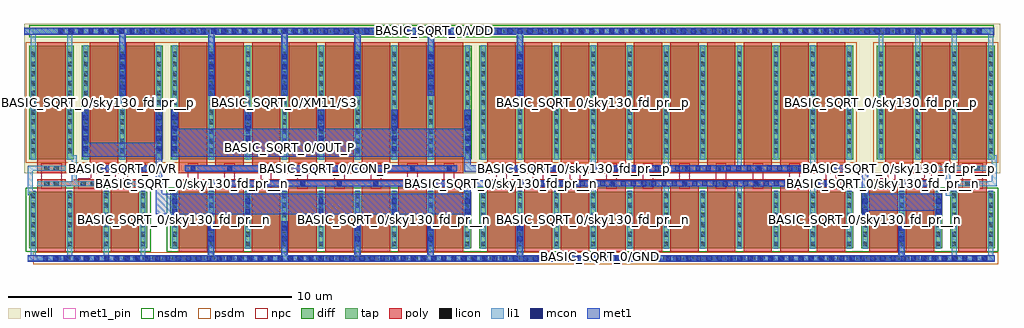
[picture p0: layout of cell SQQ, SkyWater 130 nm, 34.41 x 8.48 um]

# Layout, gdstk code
import gdstk
lib = gdstk.Library(unit=1e-6, precision=1e-09)
def R(c, l, rs):  # rectangles x0, y0, x1, y1
    for r in rs: c.add(gdstk.rectangle(r[:2], r[2:], *l))
def A(c, l, x, y, w, h, nx, ny, dx, dy):  # array of equal rectangles
    R(c, l, [(x+i*dx, y+j*dy, x+i*dx+w, y+j*dy+h) for i in range(nx) for j in range(ny)])
nwell = (64, 20)
diff = (65, 20)
tap = (65, 44)
poly = (66, 20)
licon = (66, 44)
li1 = (67, 20)
mcon = (67, 44)
met1_pin = (68, 16)
met1 = (68, 20)
nsdm = (93, 44)
psdm = (94, 20)
npc = (95, 20)

sky130_fd_pr__pfet_01v8_ = lib.new_cell('sky130_fd_pr__pfet_01v8_2Q6GVR')
R(sky130_fd_pr__pfet_01v8_, nwell, [(-5.485,-2.32,5.485,2.49)])
R(sky130_fd_pr__pfet_01v8_, diff, [(-5.305,-1.82,5.305,2.18)])
A(sky130_fd_pr__pfet_01v8_, poly, -4.805, -2.305, 0.58, 0.165, 8, 1, 1.29, 0)
A(sky130_fd_pr__pfet_01v8_, poly, -5.015, -2.14, 1, 4.45, 8, 1, 1.29, 0)
A(sky130_fd_pr__pfet_01v8_, licon, -4.6, -2.225, 0.17, 0.17, 8, 1, 1.29, 0)
A(sky130_fd_pr__pfet_01v8_, licon, -5.245, -1.605, 0.17, 0.17, 9, 11, 1.29, 0.34)
A(sky130_fd_pr__pfet_01v8_, li1, -4.805, -2.225, 0.58, 0.17, 8, 1, 1.29, 0)
A(sky130_fd_pr__pfet_01v8_, li1, -5.245, -1.84, 0.17, 4.04, 9, 1, 1.29, 0)
A(sky130_fd_pr__pfet_01v8_, mcon, -4.6, -2.225, 0.17, 0.17, 8, 1, 1.29, 0)
A(sky130_fd_pr__pfet_01v8_, mcon, -5.245, -1.525, 0.17, 0.17, 5, 4, 2.58, 0.36)
A(sky130_fd_pr__pfet_01v8_, mcon, -3.955, 0.635, 0.17, 0.17, 4, 4, 2.58, 0.36)
A(sky130_fd_pr__pfet_01v8_, met1, -4.785, -2.255, 0.54, 0.23, 8, 1, 1.29, 0)
A(sky130_fd_pr__pfet_01v8_, met1, -5.275, -1.735, 0.23, 1.67, 5, 1, 2.58, 0)
A(sky130_fd_pr__pfet_01v8_, met1, -3.985, 0.425, 0.23, 1.67, 4, 1, 2.58, 0)
R(sky130_fd_pr__pfet_01v8_, psdm, [(-5.43,-1.945,5.43,2.305)])
A(sky130_fd_pr__pfet_01v8_, npc, -4.7, -2.325, 0.37, 0.37, 8, 1, 1.29, 0)
sky130_fd_pr__pfet_01v8_.add(gdstk.Label('D0', (-5.16,0.18), layer=67, texttype=5))
sky130_fd_pr__pfet_01v8_.add(gdstk.Label('G0', (-4.515,-2.14), layer=67, texttype=5))
sky130_fd_pr__pfet_01v8_.add(gdstk.Label('S1', (-3.87,0.18), layer=67, texttype=5))
sky130_fd_pr__pfet_01v8_.add(gdstk.Label('G1', (-3.225,-2.14), layer=67, texttype=5))
sky130_fd_pr__pfet_01v8_.add(gdstk.Label('D2', (-2.58,0.18), layer=67, texttype=5))
sky130_fd_pr__pfet_01v8_.add(gdstk.Label('G2', (-1.935,-2.14), layer=67, texttype=5))
sky130_fd_pr__pfet_01v8_.add(gdstk.Label('S3', (-1.29,0.18), layer=67, texttype=5))
sky130_fd_pr__pfet_01v8_.add(gdstk.Label('G3', (-0.645,-2.14), layer=67, texttype=5))
sky130_fd_pr__pfet_01v8_.add(gdstk.Label('D4', (0,0.18), layer=67, texttype=5))
sky130_fd_pr__pfet_01v8_.add(gdstk.Label('G4', (0.645,-2.14), layer=67, texttype=5))
sky130_fd_pr__pfet_01v8_.add(gdstk.Label('S5', (1.29,0.18), layer=67, texttype=5))
sky130_fd_pr__pfet_01v8_.add(gdstk.Label('G5', (1.935,-2.14), layer=67, texttype=5))
sky130_fd_pr__pfet_01v8_.add(gdstk.Label('D6', (2.58,0.18), layer=67, texttype=5))
sky130_fd_pr__pfet_01v8_.add(gdstk.Label('G6', (3.225,-2.14), layer=67, texttype=5))
sky130_fd_pr__pfet_01v8_.add(gdstk.Label('S7', (3.87,0.18), layer=67, texttype=5))
sky130_fd_pr__pfet_01v8_.add(gdstk.Label('G7', (4.515,-2.14), layer=67, texttype=5))

c_sky130_fd_pr__pfet_01v8_ = lib.new_cell('sky130_fd_pr__pfet_01v8_2YLFS8')
R(c_sky130_fd_pr__pfet_01v8_, nwell, [(-1.615,-2.32,1.615,2.49)])
R(c_sky130_fd_pr__pfet_01v8_, diff, [(-1.435,-1.82,1.435,2.18)])
R(c_sky130_fd_pr__pfet_01v8_, poly, [(-0.935,-2.305,-0.355,-2.14), (0.355,-2.305,0.935,-2.14), (-1.145,-2.14,-0.145,2.31), (0.145,-2.14,1.145,2.31)])
A(c_sky130_fd_pr__pfet_01v8_, licon, -1.375, -1.605, 0.17, 0.17, 3, 11, 1.29, 0.34)
R(c_sky130_fd_pr__pfet_01v8_, licon, [(-0.73,-2.225,-0.56,-2.055), (0.56,-2.225,0.73,-2.055)])
A(c_sky130_fd_pr__pfet_01v8_, li1, -1.375, -1.84, 0.17, 4.04, 3, 1, 1.29, 0)
R(c_sky130_fd_pr__pfet_01v8_, li1, [(-0.935,-2.225,-0.355,-2.055), (0.355,-2.225,0.935,-2.055)])
A(c_sky130_fd_pr__pfet_01v8_, mcon, -0.085, 0.635, 0.17, 0.17, 1, 4, 0, 0.36)
R(c_sky130_fd_pr__pfet_01v8_, met1, [(-0.115,0.425,0.115,2.095)])
R(c_sky130_fd_pr__pfet_01v8_, psdm, [(-1.56,-1.945,1.56,2.305)])
R(c_sky130_fd_pr__pfet_01v8_, npc, [(-0.83,-2.325,-0.46,-1.955), (0.46,-2.325,0.83,-1.955)])
c_sky130_fd_pr__pfet_01v8_.add(gdstk.Label('D0', (-1.29,0.18), layer=67, texttype=5))
c_sky130_fd_pr__pfet_01v8_.add(gdstk.Label('G0', (-0.645,-2.14), layer=67, texttype=5))
c_sky130_fd_pr__pfet_01v8_.add(gdstk.Label('S1', (0,0.18), layer=67, texttype=5))
c_sky130_fd_pr__pfet_01v8_.add(gdstk.Label('G1', (0.645,-2.14), layer=67, texttype=5))

c_sky130_fd_pr__pfet_01v8__ = lib.new_cell('sky130_fd_pr__pfet_01v8_BGGETK')
R(c_sky130_fd_pr__pfet_01v8__, nwell, [(-5.485,-2.32,5.485,2.49)])
R(c_sky130_fd_pr__pfet_01v8__, diff, [(-5.305,-1.82,5.305,2.18)])
A(c_sky130_fd_pr__pfet_01v8__, poly, -4.805, -2.305, 0.58, 0.165, 8, 1, 1.29, 0)
A(c_sky130_fd_pr__pfet_01v8__, poly, -5.015, -2.14, 1, 4.45, 8, 1, 1.29, 0)
A(c_sky130_fd_pr__pfet_01v8__, licon, -4.6, -2.225, 0.17, 0.17, 8, 1, 1.29, 0)
A(c_sky130_fd_pr__pfet_01v8__, licon, -5.245, -1.605, 0.17, 0.17, 9, 11, 1.29, 0.34)
A(c_sky130_fd_pr__pfet_01v8__, li1, -4.805, -2.225, 0.58, 0.17, 8, 1, 1.29, 0)
A(c_sky130_fd_pr__pfet_01v8__, li1, -5.245, -1.84, 0.17, 4.04, 9, 1, 1.29, 0)
R(c_sky130_fd_pr__pfet_01v8__, psdm, [(-5.43,-1.945,5.43,2.305)])
A(c_sky130_fd_pr__pfet_01v8__, npc, -4.7, -2.325, 0.37, 0.37, 8, 1, 1.29, 0)
c_sky130_fd_pr__pfet_01v8__.add(gdstk.Label('D0', (-5.16,0.18), layer=67, texttype=5))
c_sky130_fd_pr__pfet_01v8__.add(gdstk.Label('G0', (-4.515,-2.14), layer=67, texttype=5))
c_sky130_fd_pr__pfet_01v8__.add(gdstk.Label('S1', (-3.87,0.18), layer=67, texttype=5))
c_sky130_fd_pr__pfet_01v8__.add(gdstk.Label('G1', (-3.225,-2.14), layer=67, texttype=5))
c_sky130_fd_pr__pfet_01v8__.add(gdstk.Label('D2', (-2.58,0.18), layer=67, texttype=5))
c_sky130_fd_pr__pfet_01v8__.add(gdstk.Label('G2', (-1.935,-2.14), layer=67, texttype=5))
c_sky130_fd_pr__pfet_01v8__.add(gdstk.Label('S3', (-1.29,0.18), layer=67, texttype=5))
c_sky130_fd_pr__pfet_01v8__.add(gdstk.Label('G3', (-0.645,-2.14), layer=67, texttype=5))
c_sky130_fd_pr__pfet_01v8__.add(gdstk.Label('D4', (0,0.18), layer=67, texttype=5))
c_sky130_fd_pr__pfet_01v8__.add(gdstk.Label('G4', (0.645,-2.14), layer=67, texttype=5))
c_sky130_fd_pr__pfet_01v8__.add(gdstk.Label('S5', (1.29,0.18), layer=67, texttype=5))
c_sky130_fd_pr__pfet_01v8__.add(gdstk.Label('G5', (1.935,-2.14), layer=67, texttype=5))
c_sky130_fd_pr__pfet_01v8__.add(gdstk.Label('D6', (2.58,0.18), layer=67, texttype=5))
c_sky130_fd_pr__pfet_01v8__.add(gdstk.Label('G6', (3.225,-2.14), layer=67, texttype=5))
c_sky130_fd_pr__pfet_01v8__.add(gdstk.Label('S7', (3.87,0.18), layer=67, texttype=5))
c_sky130_fd_pr__pfet_01v8__.add(gdstk.Label('G7', (4.515,-2.14), layer=67, texttype=5))

c_sky130_fd_pr__pfet_01v8___ = lib.new_cell('sky130_fd_pr__pfet_01v8_24JSVR')
R(c_sky130_fd_pr__pfet_01v8___, nwell, [(-1.615,-2.32,1.615,2.49)])
R(c_sky130_fd_pr__pfet_01v8___, diff, [(-1.435,-1.82,1.435,2.18)])
R(c_sky130_fd_pr__pfet_01v8___, poly, [(-0.935,-2.305,-0.355,-2.14), (0.355,-2.305,0.935,-2.14), (-1.145,-2.14,-0.145,2.31), (0.145,-2.14,1.145,2.31)])
A(c_sky130_fd_pr__pfet_01v8___, licon, -1.375, -1.605, 0.17, 0.17, 3, 11, 1.29, 0.34)
R(c_sky130_fd_pr__pfet_01v8___, licon, [(-0.73,-2.225,-0.56,-2.055), (0.56,-2.225,0.73,-2.055)])
A(c_sky130_fd_pr__pfet_01v8___, li1, -1.375, -1.84, 0.17, 4.04, 3, 1, 1.29, 0)
R(c_sky130_fd_pr__pfet_01v8___, li1, [(-0.935,-2.225,-0.355,-2.055), (0.355,-2.225,0.935,-2.055)])
A(c_sky130_fd_pr__pfet_01v8___, mcon, -1.375, -1.525, 0.17, 0.17, 1, 4, 0, 0.36)
A(c_sky130_fd_pr__pfet_01v8___, mcon, 1.205, -1.525, 0.17, 0.17, 1, 4, 0, 0.36)
A(c_sky130_fd_pr__pfet_01v8___, mcon, -0.085, 0.635, 0.17, 0.17, 1, 4, 0, 0.36)
R(c_sky130_fd_pr__pfet_01v8___, mcon, [(-0.73,-2.225,-0.56,-2.055), (0.56,-2.225,0.73,-2.055)])
R(c_sky130_fd_pr__pfet_01v8___, met1, [(-0.915,-2.255,-0.375,-2.025), (0.375,-2.255,0.915,-2.025), (-1.405,-1.735,-1.175,-0.065), (1.175,-1.735,1.405,-0.065), (-0.115,0.425,0.115,2.095)])
R(c_sky130_fd_pr__pfet_01v8___, psdm, [(-1.56,-1.945,1.56,2.305)])
R(c_sky130_fd_pr__pfet_01v8___, npc, [(-0.83,-2.325,-0.46,-1.955), (0.46,-2.325,0.83,-1.955)])
c_sky130_fd_pr__pfet_01v8___.add(gdstk.Label('D0', (-1.29,0.18), layer=67, texttype=5))
c_sky130_fd_pr__pfet_01v8___.add(gdstk.Label('G0', (-0.645,-2.14), layer=67, texttype=5))
c_sky130_fd_pr__pfet_01v8___.add(gdstk.Label('S1', (0,0.18), layer=67, texttype=5))
c_sky130_fd_pr__pfet_01v8___.add(gdstk.Label('G1', (0.645,-2.14), layer=67, texttype=5))

sky130_fd_pr__nfet_01v8_ = lib.new_cell('sky130_fd_pr__nfet_01v8_YC5E7B')
R(sky130_fd_pr__nfet_01v8_, diff, [(-5.305,-1.155,5.305,0.845)])
A(sky130_fd_pr__nfet_01v8_, poly, -5.015, -1.285, 1, 2.405, 8, 1, 1.29, 0)
A(sky130_fd_pr__nfet_01v8_, poly, -4.805, 1.12, 0.58, 0.165, 8, 1, 1.29, 0)
A(sky130_fd_pr__nfet_01v8_, licon, -5.245, -1.09, 0.17, 0.17, 9, 6, 1.29, 0.34)
A(sky130_fd_pr__nfet_01v8_, licon, -4.6, 1.035, 0.17, 0.17, 8, 1, 1.29, 0)
A(sky130_fd_pr__nfet_01v8_, li1, -5.245, -1.175, 0.17, 2.04, 9, 1, 1.29, 0)
A(sky130_fd_pr__nfet_01v8_, li1, -4.805, 1.035, 0.58, 0.17, 8, 1, 1.29, 0)
A(sky130_fd_pr__nfet_01v8_, mcon, -3.955, -0.9, 0.17, 0.17, 4, 2, 2.58, 0.36)
A(sky130_fd_pr__nfet_01v8_, mcon, -5.245, 0.06, 0.17, 0.17, 5, 2, 2.58, 0.36)
A(sky130_fd_pr__nfet_01v8_, mcon, -4.6, 1.035, 0.17, 0.17, 8, 1, 1.29, 0)
A(sky130_fd_pr__nfet_01v8_, met1, -3.985, -1.07, 0.23, 0.87, 4, 1, 2.58, 0)
A(sky130_fd_pr__nfet_01v8_, met1, -5.275, -0.11, 0.23, 0.87, 5, 1, 2.58, 0)
A(sky130_fd_pr__nfet_01v8_, met1, -4.785, 1.005, 0.54, 0.23, 8, 1, 1.29, 0)
R(sky130_fd_pr__nfet_01v8_, nsdm, [(-5.43,-1.28,5.43,0.97)])
A(sky130_fd_pr__nfet_01v8_, npc, -4.7, 0.935, 0.37, 0.37, 8, 1, 1.29, 0)
sky130_fd_pr__nfet_01v8_.add(gdstk.Label('D0', (-5.16,-0.155), layer=67, texttype=5))
sky130_fd_pr__nfet_01v8_.add(gdstk.Label('G0', (-4.515,1.12), layer=67, texttype=5))
sky130_fd_pr__nfet_01v8_.add(gdstk.Label('S1', (-3.87,-0.155), layer=67, texttype=5))
sky130_fd_pr__nfet_01v8_.add(gdstk.Label('G1', (-3.225,1.12), layer=67, texttype=5))
sky130_fd_pr__nfet_01v8_.add(gdstk.Label('D2', (-2.58,-0.155), layer=67, texttype=5))
sky130_fd_pr__nfet_01v8_.add(gdstk.Label('G2', (-1.935,1.12), layer=67, texttype=5))
sky130_fd_pr__nfet_01v8_.add(gdstk.Label('S3', (-1.29,-0.155), layer=67, texttype=5))
sky130_fd_pr__nfet_01v8_.add(gdstk.Label('G3', (-0.645,1.12), layer=67, texttype=5))
sky130_fd_pr__nfet_01v8_.add(gdstk.Label('D4', (0,-0.155), layer=67, texttype=5))
sky130_fd_pr__nfet_01v8_.add(gdstk.Label('G4', (0.645,1.12), layer=67, texttype=5))
sky130_fd_pr__nfet_01v8_.add(gdstk.Label('S5', (1.29,-0.155), layer=67, texttype=5))
sky130_fd_pr__nfet_01v8_.add(gdstk.Label('G5', (1.935,1.12), layer=67, texttype=5))
sky130_fd_pr__nfet_01v8_.add(gdstk.Label('D6', (2.58,-0.155), layer=67, texttype=5))
sky130_fd_pr__nfet_01v8_.add(gdstk.Label('G6', (3.225,1.12), layer=67, texttype=5))
sky130_fd_pr__nfet_01v8_.add(gdstk.Label('S7', (3.87,-0.155), layer=67, texttype=5))
sky130_fd_pr__nfet_01v8_.add(gdstk.Label('G7', (4.515,1.12), layer=67, texttype=5))

c_sky130_fd_pr__nfet_01v8_ = lib.new_cell('sky130_fd_pr__nfet_01v8_TFB3AH')
R(c_sky130_fd_pr__nfet_01v8_, diff, [(-1.435,-1.155,1.435,0.845)])
R(c_sky130_fd_pr__nfet_01v8_, poly, [(-1.145,-1.285,-0.145,1.12), (0.145,-1.285,1.145,1.12), (-0.935,1.12,-0.355,1.285), (0.355,1.12,0.935,1.285)])
A(c_sky130_fd_pr__nfet_01v8_, licon, -1.375, -1.09, 0.17, 0.17, 3, 6, 1.29, 0.34)
R(c_sky130_fd_pr__nfet_01v8_, licon, [(-0.73,1.035,-0.56,1.205), (0.56,1.035,0.73,1.205)])
A(c_sky130_fd_pr__nfet_01v8_, li1, -1.375, -1.175, 0.17, 2.04, 3, 1, 1.29, 0)
R(c_sky130_fd_pr__nfet_01v8_, li1, [(-0.935,1.035,-0.355,1.205), (0.355,1.035,0.935,1.205)])
R(c_sky130_fd_pr__nfet_01v8_, mcon, [(-0.085,-0.9,0.085,-0.73), (-0.085,-0.54,0.085,-0.37)])
R(c_sky130_fd_pr__nfet_01v8_, met1, [(-0.115,-1.07,0.115,-0.2)])
R(c_sky130_fd_pr__nfet_01v8_, nsdm, [(-1.56,-1.28,1.56,0.97)])
R(c_sky130_fd_pr__nfet_01v8_, npc, [(-0.83,0.935,-0.46,1.305), (0.46,0.935,0.83,1.305)])
c_sky130_fd_pr__nfet_01v8_.add(gdstk.Label('D0', (-1.29,-0.155), layer=67, texttype=5))
c_sky130_fd_pr__nfet_01v8_.add(gdstk.Label('G0', (-0.645,1.12), layer=67, texttype=5))
c_sky130_fd_pr__nfet_01v8_.add(gdstk.Label('S1', (0,-0.155), layer=67, texttype=5))
c_sky130_fd_pr__nfet_01v8_.add(gdstk.Label('G1', (0.645,1.12), layer=67, texttype=5))

c_sky130_fd_pr__nfet_01v8__ = lib.new_cell('sky130_fd_pr__nfet_01v8_T8ZRRH')
R(c_sky130_fd_pr__nfet_01v8__, diff, [(-5.305,-1.155,5.305,0.845)])
A(c_sky130_fd_pr__nfet_01v8__, poly, -5.015, -1.285, 1, 2.405, 8, 1, 1.29, 0)
A(c_sky130_fd_pr__nfet_01v8__, poly, -4.805, 1.12, 0.58, 0.165, 8, 1, 1.29, 0)
A(c_sky130_fd_pr__nfet_01v8__, licon, -5.245, -1.09, 0.17, 0.17, 9, 6, 1.29, 0.34)
A(c_sky130_fd_pr__nfet_01v8__, licon, -4.6, 1.035, 0.17, 0.17, 8, 1, 1.29, 0)
A(c_sky130_fd_pr__nfet_01v8__, li1, -5.245, -1.175, 0.17, 2.04, 9, 1, 1.29, 0)
A(c_sky130_fd_pr__nfet_01v8__, li1, -4.805, 1.035, 0.58, 0.17, 8, 1, 1.29, 0)
R(c_sky130_fd_pr__nfet_01v8__, nsdm, [(-5.43,-1.28,5.43,0.97)])
A(c_sky130_fd_pr__nfet_01v8__, npc, -4.7, 0.935, 0.37, 0.37, 8, 1, 1.29, 0)
c_sky130_fd_pr__nfet_01v8__.add(gdstk.Label('D0', (-5.16,-0.155), layer=67, texttype=5))
c_sky130_fd_pr__nfet_01v8__.add(gdstk.Label('G0', (-4.515,1.12), layer=67, texttype=5))
c_sky130_fd_pr__nfet_01v8__.add(gdstk.Label('S1', (-3.87,-0.155), layer=67, texttype=5))
c_sky130_fd_pr__nfet_01v8__.add(gdstk.Label('G1', (-3.225,1.12), layer=67, texttype=5))
c_sky130_fd_pr__nfet_01v8__.add(gdstk.Label('D2', (-2.58,-0.155), layer=67, texttype=5))
c_sky130_fd_pr__nfet_01v8__.add(gdstk.Label('G2', (-1.935,1.12), layer=67, texttype=5))
c_sky130_fd_pr__nfet_01v8__.add(gdstk.Label('S3', (-1.29,-0.155), layer=67, texttype=5))
c_sky130_fd_pr__nfet_01v8__.add(gdstk.Label('G3', (-0.645,1.12), layer=67, texttype=5))
c_sky130_fd_pr__nfet_01v8__.add(gdstk.Label('D4', (0,-0.155), layer=67, texttype=5))
c_sky130_fd_pr__nfet_01v8__.add(gdstk.Label('G4', (0.645,1.12), layer=67, texttype=5))
c_sky130_fd_pr__nfet_01v8__.add(gdstk.Label('S5', (1.29,-0.155), layer=67, texttype=5))
c_sky130_fd_pr__nfet_01v8__.add(gdstk.Label('G5', (1.935,1.12), layer=67, texttype=5))
c_sky130_fd_pr__nfet_01v8__.add(gdstk.Label('D6', (2.58,-0.155), layer=67, texttype=5))
c_sky130_fd_pr__nfet_01v8__.add(gdstk.Label('G6', (3.225,1.12), layer=67, texttype=5))
c_sky130_fd_pr__nfet_01v8__.add(gdstk.Label('S7', (3.87,-0.155), layer=67, texttype=5))
c_sky130_fd_pr__nfet_01v8__.add(gdstk.Label('G7', (4.515,1.12), layer=67, texttype=5))

c_sky130_fd_pr__nfet_01v8___ = lib.new_cell('sky130_fd_pr__nfet_01v8_3EFRP4')
R(c_sky130_fd_pr__nfet_01v8___, diff, [(-1.435,-1.155,1.435,0.845)])
R(c_sky130_fd_pr__nfet_01v8___, poly, [(-1.145,-1.285,-0.145,1.12), (0.145,-1.285,1.145,1.12), (-0.935,1.12,-0.355,1.285), (0.355,1.12,0.935,1.285)])
A(c_sky130_fd_pr__nfet_01v8___, licon, -1.375, -1.09, 0.17, 0.17, 3, 6, 1.29, 0.34)
R(c_sky130_fd_pr__nfet_01v8___, licon, [(-0.73,1.035,-0.56,1.205), (0.56,1.035,0.73,1.205)])
A(c_sky130_fd_pr__nfet_01v8___, li1, -1.375, -1.175, 0.17, 2.04, 3, 1, 1.29, 0)
R(c_sky130_fd_pr__nfet_01v8___, li1, [(-0.935,1.035,-0.355,1.205), (0.355,1.035,0.935,1.205)])
R(c_sky130_fd_pr__nfet_01v8___, mcon, [(-0.085,-0.9,0.085,-0.73), (-0.085,-0.54,0.085,-0.37), (-1.375,0.06,-1.205,0.23), (1.205,0.06,1.375,0.23), (-1.375,0.42,-1.205,0.59), (1.205,0.42,1.375,0.59), (-0.73,1.035,-0.56,1.205), (0.56,1.035,0.73,1.205)])
R(c_sky130_fd_pr__nfet_01v8___, met1, [(-0.115,-1.07,0.115,-0.2), (-1.405,-0.11,-1.175,0.76), (1.175,-0.11,1.405,0.76), (-0.915,1.005,-0.375,1.235), (0.375,1.005,0.915,1.235)])
R(c_sky130_fd_pr__nfet_01v8___, nsdm, [(-1.56,-1.28,1.56,0.97)])
R(c_sky130_fd_pr__nfet_01v8___, npc, [(-0.83,0.935,-0.46,1.305), (0.46,0.935,0.83,1.305)])
c_sky130_fd_pr__nfet_01v8___.add(gdstk.Label('D0', (-1.29,-0.155), layer=67, texttype=5))
c_sky130_fd_pr__nfet_01v8___.add(gdstk.Label('G0', (-0.645,1.12), layer=67, texttype=5))
c_sky130_fd_pr__nfet_01v8___.add(gdstk.Label('S1', (0,-0.155), layer=67, texttype=5))
c_sky130_fd_pr__nfet_01v8___.add(gdstk.Label('G1', (0.645,1.12), layer=67, texttype=5))

sqq = lib.new_cell('SQQ')
R(sqq, nwell, [(4.41,46.67,38.82,46.885), (4.41,46.885,7.5,51.265), (8.325,46.885,38.82,51.265), (4.41,51.265,38.82,51.95)])
A(sqq, diff, 11.155, 44.035, 2.29, 2, 3, 1, 2.58, 0)
A(sqq, diff, 20.75, 44.035, 2.29, 2, 5, 1, 2.58, 0)
A(sqq, diff, 20.75, 47.17, 2.29, 4, 5, 1, 2.58, 0)
R(sqq, diff, [(4.59,44.035,8.75,46.035), (9.575,44.035,10.865,46.035), (18.895,44.035,20.185,46.035), (33.92,44.035,36.79,46.035), (37.06,44.035,38.64,46.035), (4.59,47.17,6.17,51.17), (6.44,47.17,7.73,51.17), (8.02,47.17,9.31,51.17), (9.58,47.17,20.19,51.17), (34.48,47.17,38.64,51.17)])
R(sqq, tap, [(4.865,43.595,38.64,43.765), (4.72,51.6,38.475,51.77)])
A(sqq, poly, 4.88, 43.905, 1, 2.32, 3, 1, 1.29, 0)
A(sqq, poly, 9.865, 43.905, 1, 2.29, 8, 1, 1.29, 0)
A(sqq, poly, 20.75, 43.905, 1, 2.32, 10, 1, 1.29, 0)
A(sqq, poly, 4.88, 46.395, 1, 0.08, 3, 1, 1.29, 0)
A(sqq, poly, 20.75, 46.935, 1, 4.365, 10, 1, 1.29, 0)
A(sqq, poly, 34.77, 46.955, 1, 4.345, 3, 1, 1.29, 0)
A(sqq, poly, 9.87, 46.965, 1, 4.335, 8, 1, 1.29, 0)
R(sqq, poly, [(34.21,43.905,35.21,46.195), (35.5,43.905,36.5,46.195), (37.35,43.905,38.35,46.475), (9.865,46.195,19.895,46.475), (34.21,46.195,36.5,46.475), (4.88,46.225,8.46,46.395), (20.75,46.225,33.36,46.475), (4.88,46.685,5.88,51.3), (6.73,46.685,8.81,46.85), (9.87,46.685,19.9,46.965), (20.75,46.685,33.36,46.935), (34.77,46.685,38.35,46.955), (6.73,46.85,9.02,46.965), (6.73,46.965,7.73,51.3), (8.02,46.965,9.02,51.3)])
A(sqq, licon, 5.535, 43.595, 0.17, 0.17, 97, 1, 0.34, 0)
A(sqq, licon, 4.65, 44.1, 0.17, 0.17, 4, 6, 1.29, 0.34)
A(sqq, licon, 9.635, 44.1, 0.17, 0.17, 5, 6, 2.58, 0.34)
A(sqq, licon, 21.81, 44.1, 0.17, 0.17, 5, 6, 2.58, 0.34)
A(sqq, licon, 33.98, 44.1, 0.17, 0.17, 3, 6, 1.29, 0.34)
A(sqq, licon, 37.12, 44.1, 0.17, 0.17, 1, 6, 0, 0.34)
A(sqq, licon, 38.41, 44.1, 0.17, 0.17, 1, 6, 0, 0.34)
A(sqq, licon, 10.28, 46.225, 0.17, 0.17, 8, 1, 1.29, 0)
A(sqq, licon, 21.165, 46.225, 0.17, 0.17, 10, 2, 1.29, 0.54)
A(sqq, licon, 10.285, 46.765, 0.17, 0.17, 8, 1, 1.29, 0)
A(sqq, licon, 4.65, 47.385, 0.17, 0.17, 1, 11, 0, 0.34)
A(sqq, licon, 5.94, 47.385, 0.17, 0.17, 1, 11, 0, 0.34)
A(sqq, licon, 6.5, 47.385, 0.17, 0.17, 1, 11, 0, 0.34)
A(sqq, licon, 9.08, 47.385, 0.17, 0.17, 1, 11, 0, 0.34)
A(sqq, licon, 9.64, 47.385, 0.17, 0.17, 9, 11, 1.29, 0.34)
A(sqq, licon, 21.81, 47.385, 0.17, 0.17, 5, 11, 2.58, 0.34)
A(sqq, licon, 34.54, 47.385, 0.17, 0.17, 4, 11, 1.29, 0.34)
A(sqq, licon, 5.665, 51.6, 0.17, 0.17, 96, 1, 0.34, 0)
R(sqq, licon, [(5.125,46.225,5.295,46.395), (5.465,46.225,5.635,46.395), (6.415,46.225,6.585,46.395), (6.755,46.225,6.925,46.395), (7.705,46.225,7.875,46.395), (8.045,46.225,8.215,46.395), (34.625,46.225,34.795,46.395), (35.915,46.225,36.085,46.395), (37.595,46.225,37.765,46.395), (37.935,46.225,38.105,46.395), (5.125,46.765,5.295,46.935), (5.465,46.765,5.635,46.935), (7.145,46.765,7.315,46.935), (8.435,46.765,8.605,46.935), (35.185,46.765,35.355,46.935), (36.475,46.765,36.645,46.935), (37.595,46.765,37.765,46.935), (37.935,46.765,38.105,46.935)])
A(sqq, li1, 5.94, 43.765, 0.17, 2.29, 3, 1, 1.29, 0)
A(sqq, li1, 9.635, 44.015, 0.17, 2.04, 5, 1, 2.58, 0)
A(sqq, li1, 24.39, 44.015, 0.17, 2.21, 4, 1, 2.58, 0)
A(sqq, li1, 24.39, 46.935, 0.17, 4.255, 4, 1, 2.58, 0)
A(sqq, li1, 9.64, 47.15, 0.17, 4.04, 5, 1, 2.58, 0)
A(sqq, li1, 10.93, 47.15, 0.17, 4.45, 4, 1, 2.58, 0)
A(sqq, li1, 34.54, 47.15, 0.17, 4.45, 3, 1, 1.29, 0)
R(sqq, li1, [(4.545,43.595,38.64,43.765), (4.65,43.765,4.82,45.895), (10.925,43.765,11.095,44.265), (13.505,43.765,13.675,44.14), (16.085,43.765,16.255,44.15), (18.665,43.765,18.835,44.205), (21.81,43.765,21.98,46.055), (35.27,43.765,35.44,46.055), (37.12,43.765,37.29,45.885), (38.41,43.765,38.58,46.055), (33.98,44.015,34.15,46.055), (36.56,44.015,36.73,46.055), (36.9,45.885,37.29,46.055), (4.54,45.895,4.82,46.055), (4.54,46.055,4.71,46.765), (36.9,46.055,37.07,46.765), (4.88,46.225,8.46,46.395), (10.075,46.225,19.685,46.395), (20.96,46.225,33.15,46.395), (34.42,46.225,36.29,46.395), (37.35,46.225,38.7,46.395), (6.095,46.395,6.265,47.15), (38.53,46.395,38.7,47.15), (4.54,46.765,5.88,46.935), (6.94,46.765,8.81,46.935), (10.08,46.765,19.69,46.935), (20.96,46.765,33.15,46.935), (34.98,46.765,38.35,46.935), (4.65,47.15,4.82,51.6), (5.94,47.15,6.265,47.32), (6.5,47.15,6.67,51.19), (9.08,47.15,9.25,51.19), (21.81,47.15,21.98,51.6), (38.41,47.15,38.7,47.32), (5.94,47.32,6.11,51.6), (38.41,47.32,38.58,51.6), (7.79,50.975,7.96,51.6), (4.425,51.6,38.58,51.77)])
A(sqq, mcon, 5.085, 43.595, 0.17, 0.17, 93, 1, 0.36, 0)
A(sqq, mcon, 9.635, 45.25, 0.17, 0.17, 5, 2, 2.58, 0.36)
A(sqq, mcon, 10.28, 46.225, 0.17, 0.17, 8, 1, 1.29, 0)
A(sqq, mcon, 21.49, 46.225, 0.17, 0.17, 32, 1, 0.36, 0)
A(sqq, mcon, 10.285, 46.765, 0.17, 0.17, 8, 1, 1.29, 0)
A(sqq, mcon, 21.605, 46.765, 0.17, 0.17, 31, 1, 0.36, 0)
A(sqq, mcon, 6.5, 47.465, 0.17, 0.17, 1, 4, 0, 0.36)
A(sqq, mcon, 9.08, 47.465, 0.17, 0.17, 1, 4, 0, 0.36)
A(sqq, mcon, 9.64, 47.465, 0.17, 0.17, 5, 4, 2.58, 0.36)
A(sqq, mcon, 10.93, 49.625, 0.17, 0.17, 4, 4, 2.58, 0.36)
A(sqq, mcon, 21.81, 49.625, 0.17, 0.17, 1, 4, 0, 0.36)
A(sqq, mcon, 5.61, 51.6, 0.17, 0.17, 91, 1, 0.36, 0)
R(sqq, mcon, [(21.81,44.29,21.98,44.46), (35.27,44.29,35.44,44.46), (21.81,44.65,21.98,44.82), (35.27,44.65,35.44,44.82), (33.98,45.25,34.15,45.42), (36.56,45.25,36.73,45.42), (33.98,45.61,34.15,45.78), (36.56,45.61,36.73,45.78), (34.625,46.225,34.795,46.395), (35.915,46.225,36.085,46.395), (7.145,46.765,7.315,46.935), (8.435,46.765,8.605,46.935)])
R(sqq, met1_pin, [(24.225,43.69,25.225,43.795), (14.565,45.45,15.565,45.58), (14.495,46.265,15.495,46.385), (35.07,46.28,35.625,46.385), (14.525,46.785,15.525,46.9), (7.52,46.795,8.23,46.87), (13.285,47.535,14.285,47.61), (18.375,51.655,19.375,51.75)])
A(sqq, met1, 9.605, 45.08, 0.23, 0.15, 5, 1, 2.58, 0)
A(sqq, met1, 9.61, 48.255, 0.23, 0.67, 5, 1, 2.58, 0)
A(sqq, met1, 10.9, 49.415, 0.23, 2.155, 4, 1, 2.58, 0)
R(sqq, met1, [(4.54,43.565,38.64,43.795), (10.895,43.795,11.125,44.2), (13.475,43.795,13.705,44.205), (16.055,43.795,16.285,44.15), (18.635,43.795,18.865,44.205), (21.78,43.795,22.01,44.99), (35.24,43.795,35.47,44.99), (33.95,45.08,34.18,45.355), (36.53,45.08,36.76,45.355), (9.055,45.23,20.155,45.95), (33.95,45.355,36.76,45.95), (9.055,45.95,9.28,47.255), (19.925,45.95,20.155,46.195), (33.95,45.95,34.18,46.735), (10.095,46.195,19.665,46.425), (19.925,46.195,32.915,46.425), (34.44,46.195,36.27,46.425), (6.96,46.735,8.79,46.965), (10.1,46.735,19.67,46.965), (19.93,46.735,34.18,46.965), (19.93,46.965,20.16,47.255), (6.47,47.255,9.28,47.75), (9.61,47.255,20.16,48.255), (6.47,47.75,6.7,48.925), (9.05,47.75,9.28,48.925), (21.78,49.415,22.01,51.57), (7.76,50.88,7.99,51.57), (4.41,51.57,38.625,51.8)])
R(sqq, nsdm, [(4.465,43.91,8.875,46.16), (9.45,43.91,38.765,46.16), (4.595,51.475,38.6,51.895)])
R(sqq, psdm, [(4.74,43.47,38.765,43.89), (4.465,47.045,33.485,51.295), (34.355,47.045,38.765,51.295)])
A(sqq, npc, 10.18, 46.125, 0.37, 0.37, 8, 1, 1.29, 0)
A(sqq, npc, 21.065, 46.125, 0.37, 0.91, 10, 1, 1.29, 0)
A(sqq, npc, 10.185, 46.495, 0.365, 0.17, 8, 1, 1.29, 0)
A(sqq, npc, 10.185, 46.665, 0.37, 0.37, 8, 1, 1.29, 0)
R(sqq, npc, [(5.025,46.125,5.735,47.035), (6.315,46.125,7.025,46.445), (7.605,46.125,8.315,46.225), (34.525,46.125,34.895,46.225), (35.815,46.125,36.185,46.225), (37.495,46.125,38.205,47.035), (7.375,46.225,8.315,46.445), (34.525,46.225,35.125,46.495), (35.815,46.225,36.415,46.495), (6.315,46.445,8.605,46.495), (6.755,46.495,7.645,46.715), (8.045,46.495,8.605,46.665), (34.855,46.495,35.125,46.665), (36.145,46.495,36.415,46.665), (8.045,46.665,8.705,46.715), (34.855,46.665,35.455,46.935), (36.145,46.665,36.745,46.935), (7.045,46.715,7.645,46.935), (8.335,46.715,8.705,47.035), (7.045,46.935,7.415,47.035), (35.085,46.935,35.455,47.035), (36.375,46.935,36.745,47.035)])
sqq.add(gdstk.Reference(sky130_fd_pr__pfet_01v8_, (14.885,48.99)))
sqq.add(gdstk.Reference(c_sky130_fd_pr__pfet_01v8_, (21.895,48.99)))
sqq.add(gdstk.Reference(c_sky130_fd_pr__pfet_01v8__, (28.345,48.99)))
sqq.add(gdstk.Reference(c_sky130_fd_pr__pfet_01v8___, (7.875,48.99)))
sqq.add(gdstk.Reference(sky130_fd_pr__nfet_01v8_, (14.88,45.19)))
sqq.add(gdstk.Reference(c_sky130_fd_pr__nfet_01v8_, (21.895,45.19)))
sqq.add(gdstk.Reference(c_sky130_fd_pr__nfet_01v8__, (28.345,45.19)))
sqq.add(gdstk.Reference(c_sky130_fd_pr__nfet_01v8___, (35.355,45.19)))
sqq.add(gdstk.Label('BASIC_SQRT_0/VR', (7.875,46.832), layer=68, texttype=5))
sqq.add(gdstk.Label('BASIC_SQRT_0/sky130_fd_pr__pfet_01v8_24JSVR_0/D0', (6.585,49.17), layer=67, texttype=5))
sqq.add(gdstk.Label('BASIC_SQRT_0/sky130_fd_pr__nfet_01v8_YC5E7B_0/D0', (9.72,45.035), layer=67, texttype=5))
sqq.add(gdstk.Label('BASIC_SQRT_0/OUT_N', (15.065,45.515), layer=68, texttype=5))
sqq.add(gdstk.Label('BASIC_SQRT_0/XM11/D0', (9.725,49.17), layer=67, texttype=5))
sqq.add(gdstk.Label('BASIC_SQRT_0/sky130_fd_pr__nfet_01v8_3EFRP4_0/D0', (34.065,45.035), layer=67, texttype=5))
sqq.add(gdstk.Label('BASIC_SQRT_0/XM6/D0', (4.735,45.035), layer=67, texttype=5))
sqq.add(gdstk.Label('BASIC_SQRT_0/sky130_fd_pr__nfet_01v8_3H4BCP_0/D', (37.205,45.035), layer=67, texttype=5))
sqq.add(gdstk.Label('BASIC_SQRT_0/sky130_fd_pr__pfet_01v8_TZ8JKT_0/D', (4.735,49.17), layer=67, texttype=5))
sqq.add(gdstk.Label('BASIC_SQRT_0/sky130_fd_pr__pfet_01v8_AQ3V6E_0/D0', (34.625,49.17), layer=67, texttype=5))
sqq.add(gdstk.Label('BASIC_SQRT_0/sky130_fd_pr__pfet_01v8_TZ8JKT_1/D', (37.205,49.17), layer=67, texttype=5))
sqq.add(gdstk.Label('BASIC_SQRT_0/sky130_fd_pr__nfet_01v8_3EFRP4_0/G0', (34.71,46.31), layer=67, texttype=5))
sqq.add(gdstk.Label('BASIC_SQRT_0/sky130_fd_pr__pfet_01v8_24JSVR_0/G0', (7.23,46.85), layer=67, texttype=5))
sqq.add(gdstk.Label('BASIC_SQRT_0/CON_P', (15.025,46.842), layer=68, texttype=5))
sqq.add(gdstk.Label('BASIC_SQRT_0/XM11/G0', (10.37,46.85), layer=67, texttype=5))
sqq.add(gdstk.Label('BASIC_SQRT_0/sky130_fd_pr__nfet_01v8_YC5E7B_0/G0', (10.365,46.31), layer=67, texttype=5))
sqq.add(gdstk.Label('BASIC_SQRT_0/sky130_fd_pr__nfet_01v8_TFB3AH_0/G0', (21.25,46.31), layer=67, texttype=5))
sqq.add(gdstk.Label('BASIC_SQRT_0/sky130_fd_pr__nfet_01v8_T8ZRRH_0/G0', (23.83,46.31), layer=67, texttype=5))
sqq.add(gdstk.Label('BASIC_SQRT_0/sky130_fd_pr__pfet_01v8_BGGETK_0/G0', (23.83,46.85), layer=67, texttype=5))
sqq.add(gdstk.Label('BASIC_SQRT_0/XM5/G0', (21.25,46.85), layer=67, texttype=5))
sqq.add(gdstk.Label('BASIC_SQRT_0/sky130_fd_pr__pfet_01v8_AQ3V6E_0/G0', (35.27,46.85), layer=67, texttype=5))
sqq.add(gdstk.Label('BASIC_SQRT_0/sky130_fd_pr__nfet_01v8_3H4BCP_0/S', (38.495,45.035), layer=67, texttype=5))
sqq.add(gdstk.Label('BASIC_SQRT_0/sky130_fd_pr__pfet_01v8_TZ8JKT_1/S', (38.495,49.17), layer=67, texttype=5))
sqq.add(gdstk.Label('BASIC_SQRT_0/XM6/G0', (5.38,46.31), layer=67, texttype=5))
sqq.add(gdstk.Label('BASIC_SQRT_0/sky130_fd_pr__pfet_01v8_TZ8JKT_0/S', (6.025,49.17), layer=67, texttype=5))
sqq.add(gdstk.Label('BASIC_SQRT_0/CON_N', (14.995,46.325), layer=68, texttype=5))
sqq.add(gdstk.Label('BASIC_SQRT_0/sky130_fd_pr__nfet_01v8_T8ZRRH_0/S1', (24.475,45.035), layer=67, texttype=5))
sqq.add(gdstk.Label('BASIC_SQRT_0/sky130_fd_pr__pfet_01v8_BGGETK_0/S1', (24.475,49.17), layer=67, texttype=5))
sqq.add(gdstk.Label('BASIC_SQRT_0/sky130_fd_pr__pfet_01v8_TZ8JKT_0/G', (5.38,46.85), layer=67, texttype=5))
sqq.add(gdstk.Label('BASIC_SQRT_0/XM6/S1', (6.025,45.035), layer=67, texttype=5))
sqq.add(gdstk.Label('BASIC_SQRT_0/sky130_fd_pr__nfet_01v8_TFB3AH_0/S1', (21.895,45.035), layer=67, texttype=5))
sqq.add(gdstk.Label('BASIC_SQRT_0/sky130_fd_pr__nfet_01v8_3EFRP4_0/S1', (35.355,45.035), layer=67, texttype=5))
sqq.add(gdstk.Label('BASIC_SQRT_0/sky130_fd_pr__pfet_01v8_TZ8JKT_1/G', (37.85,46.85), layer=67, texttype=5))
sqq.add(gdstk.Label('BASIC_SQRT_0/sky130_fd_pr__nfet_01v8_3H4BCP_0/G', (37.85,46.31), layer=67, texttype=5))
sqq.add(gdstk.Label('BASIC_SQRT_0/sky130_fd_pr__pfet_01v8_AQ3V6E_0/S1', (35.915,49.17), layer=67, texttype=5))
sqq.add(gdstk.Label('BASIC_SQRT_0/XM11/S1', (11.015,49.17), layer=67, texttype=5))
sqq.add(gdstk.Label('BASIC_SQRT_0/XM5/S1', (21.895,49.17), layer=67, texttype=5))
sqq.add(gdstk.Label('BASIC_SQRT_0/sky130_fd_pr__nfet_01v8_3EFRP4_0/G1', (36,46.31), layer=67, texttype=5))
sqq.add(gdstk.Label('BASIC_SQRT_0/sky130_fd_pr__pfet_01v8_24JSVR_0/G1', (8.52,46.85), layer=67, texttype=5))
sqq.add(gdstk.Label('BASIC_SQRT_0/XM11/G1', (11.66,46.85), layer=67, texttype=5))
sqq.add(gdstk.Label('BASIC_SQRT_0/sky130_fd_pr__nfet_01v8_YC5E7B_0/G1', (11.655,46.31), layer=67, texttype=5))
sqq.add(gdstk.Label('BASIC_SQRT_0/sky130_fd_pr__nfet_01v8_TFB3AH_0/G1', (22.54,46.31), layer=67, texttype=5))
sqq.add(gdstk.Label('BASIC_SQRT_0/sky130_fd_pr__nfet_01v8_T8ZRRH_0/G1', (25.12,46.31), layer=67, texttype=5))
sqq.add(gdstk.Label('BASIC_SQRT_0/sky130_fd_pr__pfet_01v8_BGGETK_0/G1', (25.12,46.85), layer=67, texttype=5))
sqq.add(gdstk.Label('BASIC_SQRT_0/XM5/G1', (22.54,46.85), layer=67, texttype=5))
sqq.add(gdstk.Label('BASIC_SQRT_0/OUT_P', (13.785,47.572), layer=68, texttype=5))
sqq.add(gdstk.Label('BASIC_SQRT_0/sky130_fd_pr__pfet_01v8_AQ3V6E_0/G1', (36.56,46.85), layer=67, texttype=5))
sqq.add(gdstk.Label('BASIC_SQRT_0/XM6/G1', (6.67,46.31), layer=67, texttype=5))
sqq.add(gdstk.Label('BASIC_SQRT_0/VRC', (35.347,46.332), layer=68, texttype=5))
sqq.add(gdstk.Label('BASIC_SQRT_0/sky130_fd_pr__nfet_01v8_YC5E7B_0/D2', (12.3,45.035), layer=67, texttype=5))
sqq.add(gdstk.Label('BASIC_SQRT_0/XM11/D2', (12.305,49.17), layer=67, texttype=5))
sqq.add(gdstk.Label('BASIC_SQRT_0/XM6/D2', (7.315,45.035), layer=67, texttype=5))
sqq.add(gdstk.Label('BASIC_SQRT_0/XM11/G2', (12.95,46.85), layer=67, texttype=5))
sqq.add(gdstk.Label('BASIC_SQRT_0/sky130_fd_pr__nfet_01v8_YC5E7B_0/G2', (12.945,46.31), layer=67, texttype=5))
sqq.add(gdstk.Label('BASIC_SQRT_0/sky130_fd_pr__nfet_01v8_T8ZRRH_0/G2', (26.41,46.31), layer=67, texttype=5))
sqq.add(gdstk.Label('BASIC_SQRT_0/sky130_fd_pr__pfet_01v8_BGGETK_0/G2', (26.41,46.85), layer=67, texttype=5))
sqq.add(gdstk.Label('BASIC_SQRT_0/XM6/S2', (8.605,45.035), layer=67, texttype=5))
sqq.add(gdstk.Label('BASIC_SQRT_0/VDD', (18.875,51.702), layer=68, texttype=5))
sqq.add(gdstk.Label('BASIC_SQRT_0/sky130_fd_pr__nfet_01v8_T8ZRRH_0/S3', (27.055,45.035), layer=67, texttype=5))
sqq.add(gdstk.Label('BASIC_SQRT_0/sky130_fd_pr__pfet_01v8_BGGETK_0/S3', (27.055,49.17), layer=67, texttype=5))
sqq.add(gdstk.Label('BASIC_SQRT_0/GND', (24.725,43.742), layer=68, texttype=5))
sqq.add(gdstk.Label('BASIC_SQRT_0/XM6/G2', (7.96,46.31), layer=67, texttype=5))
sqq.add(gdstk.Label('BASIC_SQRT_0/XM11/S3', (13.595,49.17), layer=67, texttype=5))
sqq.add(gdstk.Label('BASIC_SQRT_0/XM11/G3', (14.24,46.85), layer=67, texttype=5))
sqq.add(gdstk.Label('BASIC_SQRT_0/sky130_fd_pr__nfet_01v8_YC5E7B_0/G3', (14.235,46.31), layer=67, texttype=5))
sqq.add(gdstk.Label('BASIC_SQRT_0/sky130_fd_pr__nfet_01v8_T8ZRRH_0/G3', (27.7,46.31), layer=67, texttype=5))
sqq.add(gdstk.Label('BASIC_SQRT_0/sky130_fd_pr__pfet_01v8_BGGETK_0/G3', (27.7,46.85), layer=67, texttype=5))
sqq.add(gdstk.Label('BASIC_SQRT_0/sky130_fd_pr__nfet_01v8_YC5E7B_0/D4', (14.88,45.035), layer=67, texttype=5))
sqq.add(gdstk.Label('BASIC_SQRT_0/XM11/D4', (14.885,49.17), layer=67, texttype=5))
sqq.add(gdstk.Label('BASIC_SQRT_0/XM11/G4', (15.53,46.85), layer=67, texttype=5))
sqq.add(gdstk.Label('BASIC_SQRT_0/sky130_fd_pr__nfet_01v8_YC5E7B_0/G4', (15.525,46.31), layer=67, texttype=5))
sqq.add(gdstk.Label('BASIC_SQRT_0/sky130_fd_pr__nfet_01v8_T8ZRRH_0/G4', (28.99,46.31), layer=67, texttype=5))
sqq.add(gdstk.Label('BASIC_SQRT_0/sky130_fd_pr__pfet_01v8_BGGETK_0/G4', (28.99,46.85), layer=67, texttype=5))
sqq.add(gdstk.Label('BASIC_SQRT_0/sky130_fd_pr__nfet_01v8_T8ZRRH_0/S5', (29.635,45.035), layer=67, texttype=5))
sqq.add(gdstk.Label('BASIC_SQRT_0/sky130_fd_pr__pfet_01v8_BGGETK_0/S5', (29.635,49.17), layer=67, texttype=5))
sqq.add(gdstk.Label('BASIC_SQRT_0/XM11/S5', (16.175,49.17), layer=67, texttype=5))
sqq.add(gdstk.Label('BASIC_SQRT_0/XM11/G5', (16.82,46.85), layer=67, texttype=5))
sqq.add(gdstk.Label('BASIC_SQRT_0/sky130_fd_pr__nfet_01v8_YC5E7B_0/G5', (16.815,46.31), layer=67, texttype=5))
sqq.add(gdstk.Label('BASIC_SQRT_0/sky130_fd_pr__nfet_01v8_T8ZRRH_0/G5', (30.28,46.31), layer=67, texttype=5))
sqq.add(gdstk.Label('BASIC_SQRT_0/sky130_fd_pr__pfet_01v8_BGGETK_0/G5', (30.28,46.85), layer=67, texttype=5))
sqq.add(gdstk.Label('BASIC_SQRT_0/sky130_fd_pr__nfet_01v8_YC5E7B_0/D6', (17.46,45.035), layer=67, texttype=5))
sqq.add(gdstk.Label('BASIC_SQRT_0/XM11/D6', (17.465,49.17), layer=67, texttype=5))
sqq.add(gdstk.Label('BASIC_SQRT_0/XM11/G6', (18.11,46.85), layer=67, texttype=5))
sqq.add(gdstk.Label('BASIC_SQRT_0/sky130_fd_pr__nfet_01v8_YC5E7B_0/G6', (18.105,46.31), layer=67, texttype=5))
sqq.add(gdstk.Label('BASIC_SQRT_0/sky130_fd_pr__nfet_01v8_T8ZRRH_0/G6', (31.57,46.31), layer=67, texttype=5))
sqq.add(gdstk.Label('BASIC_SQRT_0/sky130_fd_pr__pfet_01v8_BGGETK_0/G6', (31.57,46.85), layer=67, texttype=5))
sqq.add(gdstk.Label('BASIC_SQRT_0/sky130_fd_pr__nfet_01v8_T8ZRRH_0/S7', (32.215,45.035), layer=67, texttype=5))
sqq.add(gdstk.Label('BASIC_SQRT_0/sky130_fd_pr__pfet_01v8_BGGETK_0/S7', (32.215,49.17), layer=67, texttype=5))
sqq.add(gdstk.Label('BASIC_SQRT_0/XM11/S7', (18.755,49.17), layer=67, texttype=5))
sqq.add(gdstk.Label('BASIC_SQRT_0/XM11/G7', (19.4,46.85), layer=67, texttype=5))
sqq.add(gdstk.Label('BASIC_SQRT_0/sky130_fd_pr__nfet_01v8_YC5E7B_0/G7', (19.395,46.31), layer=67, texttype=5))
sqq.add(gdstk.Label('BASIC_SQRT_0/sky130_fd_pr__nfet_01v8_T8ZRRH_0/G7', (32.86,46.31), layer=67, texttype=5))
sqq.add(gdstk.Label('BASIC_SQRT_0/sky130_fd_pr__pfet_01v8_BGGETK_0/G7', (32.86,46.85), layer=67, texttype=5))

lib.write_gds('SQQ.gds')
